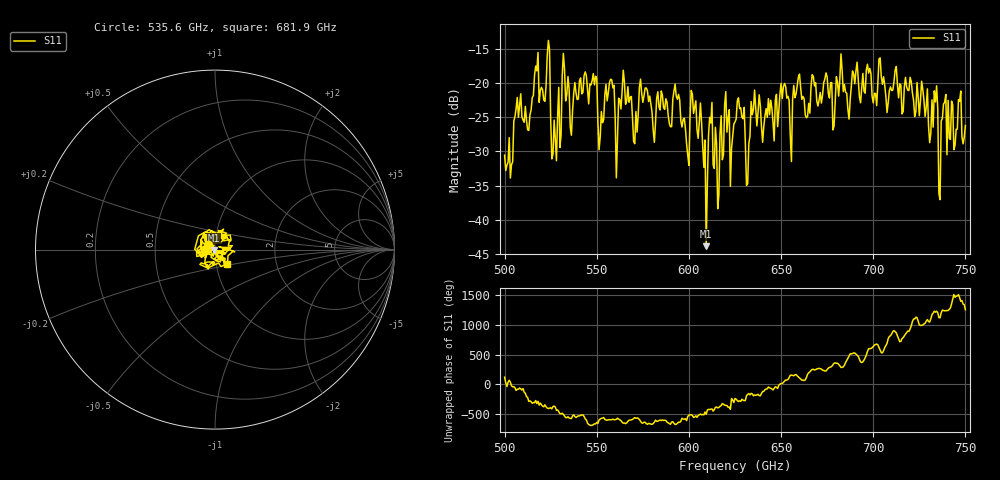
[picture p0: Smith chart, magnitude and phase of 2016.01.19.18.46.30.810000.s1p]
!Created with skrf (http://scikit-rf.org).
# GHz S RI R 50.0
!freq ReS11 ImS11
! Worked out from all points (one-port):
!   401 points, 500 GHz to 750 GHz, reference 50 ohm
!   lowest |S11| = -43.9 dB at 609.4 GHz (marker M1), VSWR 1.01, Z = 49.5 - j0.382 ohm
!   |S11| at or under -10 dB: start of sweep to end of sweep
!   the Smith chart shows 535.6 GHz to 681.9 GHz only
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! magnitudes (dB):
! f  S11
! 500 GHz  -30.6
! 507.5 GHz  -25.0
! 513.1 GHz  -27.0
! 516.9 GHz  -17.6
! 523.8 GHz  -13.8
! 526.9 GHz  -25.4
! 531.2 GHz  -19.0
! 562.5 GHz  -22.5
! 593.8 GHz  -22.4
! 598.8 GHz  -29.0
! 602.5 GHz  -24.5
! 609.4 GHz  -43.9
! 611.9 GHz  -25.9
! 615 GHz  -28.9
! 620.6 GHz  -27.2
! 625 GHz  -25.7
! 628.8 GHz  -25.0
! 631.9 GHz  -34.7
! 635 GHz  -23.9
! 656.2 GHz  -22.4
! 659.4 GHz  -19.2
! 664.4 GHz  -24.9
! 687.5 GHz  -22.4
! 718.8 GHz  -21.1
! 733.8 GHz  -22.8
! 736.2 GHz  -37.1
! 738.1 GHz  -23.1
! 750 GHz  -26.2
